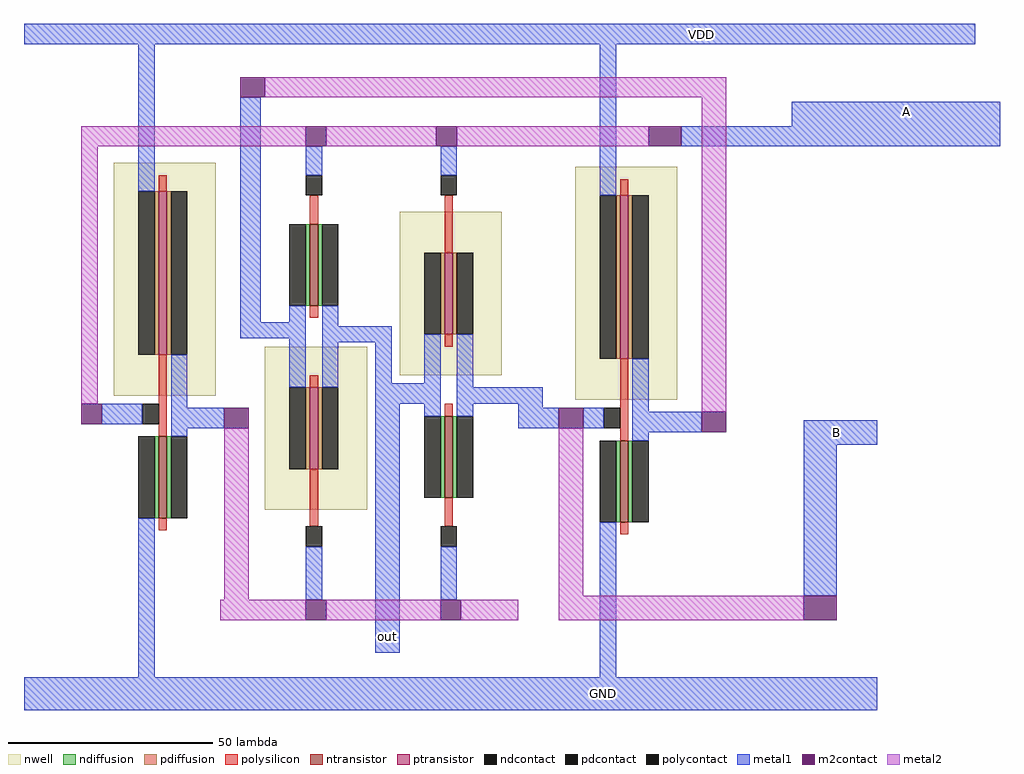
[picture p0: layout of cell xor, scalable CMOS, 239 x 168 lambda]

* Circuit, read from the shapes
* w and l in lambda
.subckt xor A B GND VDD out
M1 n1 A GND VSUBS nfet w=20 l=2
M2 out A n2 VSUBS nfet w=20 l=2
M3 B n1 out VSUBS nfet w=20 l=2
M4 n2 B GND VSUBS nfet w=20 l=2
M5 n1 A VDD n3 pfet w=40 l=2
M6 out n1 n2 n4 pfet w=20 l=2
M7 B A out n5 pfet w=20 l=2
M8 n2 B VDD n6 pfet w=40 l=2
.ends

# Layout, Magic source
magic
tech scmos
<< nwell >>
rect -98 8 -73 65
rect -61 -20 -36 20
rect -28 13 -3 53
rect 15 7 40 64
<< ntransistor >>
rect -50 30 -48 50
rect -87 -22 -85 -2
rect -17 -17 -15 3
rect 26 -23 28 -3
<< ptransistor >>
rect -87 18 -85 58
rect -17 23 -15 43
rect 26 17 28 57
rect -50 -10 -48 10
<< ndiffusion >>
rect -51 30 -50 50
rect -48 30 -47 50
rect -88 -22 -87 -2
rect -85 -22 -84 -2
rect -18 -17 -17 3
rect -15 -17 -14 3
rect 25 -23 26 -3
rect 28 -23 29 -3
<< pdiffusion >>
rect -88 18 -87 58
rect -85 18 -84 58
rect -18 23 -17 43
rect -15 23 -14 43
rect 25 17 26 57
rect 28 17 29 57
rect -51 -10 -50 10
rect -48 -10 -47 10
<< ndcontact >>
rect -55 30 -51 50
rect -47 30 -43 50
rect -92 -22 -88 -2
rect -84 -22 -80 -2
rect -22 -17 -18 3
rect -14 -17 -10 3
rect 21 -23 25 -3
rect 29 -23 33 -3
<< pdcontact >>
rect -92 18 -88 58
rect -84 18 -80 58
rect -22 23 -18 43
rect -14 23 -10 43
rect 21 17 25 57
rect 29 17 33 57
rect -55 -10 -51 10
rect -47 -10 -43 10
<< polysilicon >>
rect -87 58 -85 62
rect 26 57 28 61
rect -50 50 -48 57
rect -17 43 -15 57
rect -50 27 -48 30
rect -17 20 -15 23
rect -87 -2 -85 18
rect -50 10 -48 13
rect -17 3 -15 6
rect -87 -25 -85 -22
rect -50 -24 -48 -10
rect 26 -3 28 17
rect -17 -24 -15 -17
rect 26 -26 28 -23
<< polycontact >>
rect -51 57 -47 62
rect -18 57 -14 62
rect -91 1 -87 6
rect 22 0 26 5
rect -51 -29 -47 -24
rect -18 -29 -14 -24
<< metal1 >>
rect -120 94 113 99
rect -92 58 -88 94
rect -67 26 -62 81
rect -51 62 -47 69
rect -18 62 -14 69
rect 21 57 25 94
rect 68 74 119 80
rect 41 69 119 74
rect -55 26 -51 30
rect -67 22 -51 26
rect -101 1 -91 6
rect -84 5 -80 18
rect -55 10 -51 22
rect -84 0 -71 5
rect -84 -2 -80 0
rect -47 25 -43 30
rect -47 21 -30 25
rect -47 10 -43 21
rect -34 11 -30 21
rect -22 11 -18 23
rect -34 6 -18 11
rect -92 -61 -88 -22
rect -51 -42 -47 -29
rect -34 -55 -28 6
rect -22 3 -18 6
rect -14 10 -10 23
rect -14 6 7 10
rect -14 3 -10 6
rect 1 5 7 6
rect 1 0 11 5
rect 17 0 22 5
rect 29 4 33 17
rect 29 -1 46 4
rect 29 -3 33 -1
rect 71 -4 89 2
rect -18 -42 -14 -29
rect 21 -61 25 -23
rect 71 -41 79 -4
rect -120 -69 89 -61
<< m2contact >>
rect -67 81 -61 86
rect -51 69 -46 74
rect -19 69 -14 74
rect 33 69 41 74
rect -106 1 -101 6
rect -71 0 -65 5
rect -51 -47 -46 -42
rect 11 0 17 5
rect 46 -1 52 4
rect -18 -47 -13 -42
rect 71 -47 79 -41
<< metal2 >>
rect -61 81 52 86
rect -106 69 -51 74
rect -46 69 -19 74
rect -14 69 33 74
rect -106 6 -102 69
rect -71 -42 -65 0
rect 11 -41 17 0
rect 46 4 52 81
rect -72 -47 -51 -42
rect -46 -47 -18 -42
rect -13 -47 1 -42
rect 11 -47 71 -41
<< labels >>
rlabel metal1 -35 -68 79 -62 1 GND
rlabel metal1 -11 94 103 99 5 VDD
rlabel metal1 78 75 114 80 1 A
rlabel metal1 71 -4 87 2 1 B
rlabel metal1 -34 -54 -28 -48 1 out
<< end >>
